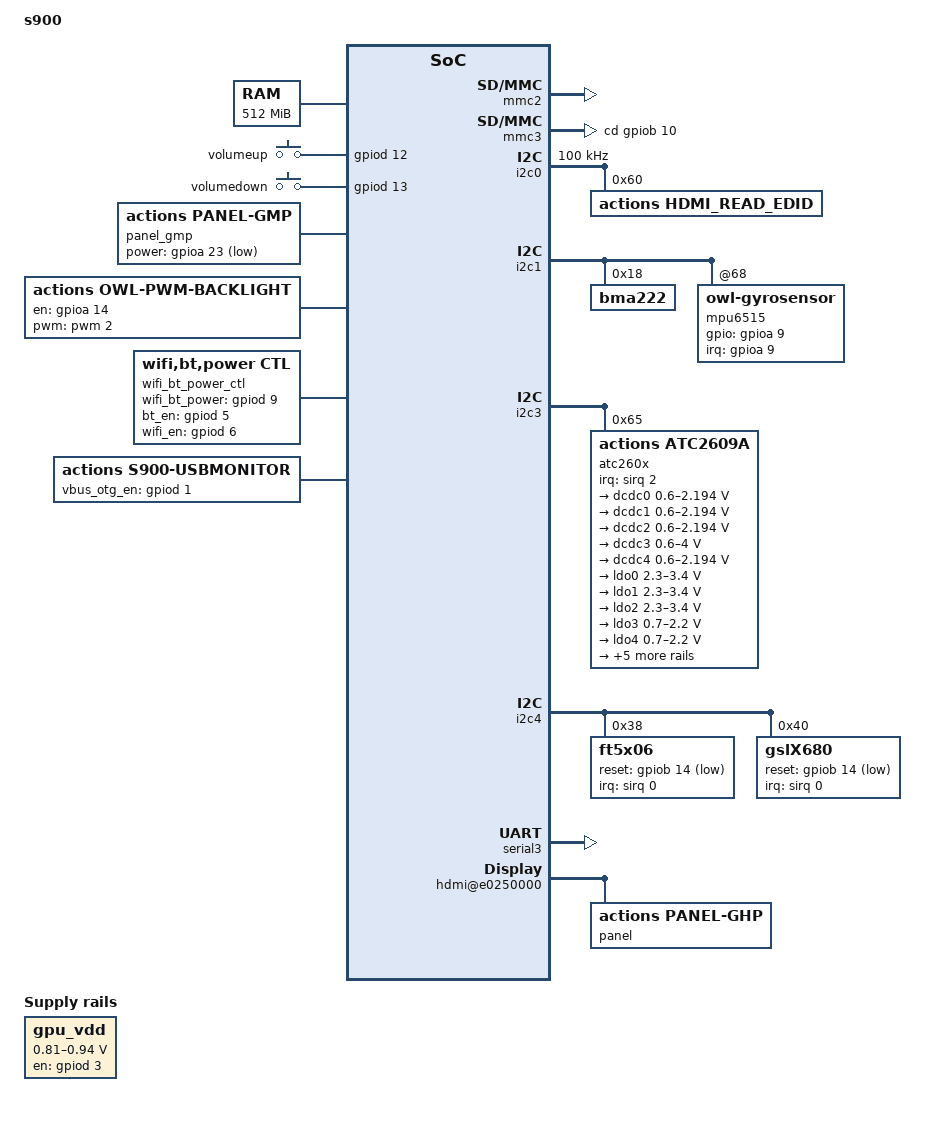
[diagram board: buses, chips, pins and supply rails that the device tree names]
/*
 * Copyright (C) 2014 Actions Semi. Inc
 *
 * This program is free software; you can redistribute it and/or
 * modify it under the terms of the GNU General Public License as
 * published by the Free Software Foundation version 2.
 *
 * This program is distributed "as is" WITHOUT ANY WARRANTY of any
 * kind, whether express or implied; without even the implied warranty
 * of MERCHANTABILITY or FITNESS FOR A PARTICULAR PURPOSE.  See the
 * GNU General Public License for more details.
 */

/dts-v1/;

/* reserve 48MB for logo(fb) */
/memreserve/ 0x19000000 0x03000000;

/* reserve 48MB for ion0(fb) */
/memreserve/ 0x1C000000 0x03000000;

/* reserve 512MB for ion1(pmem) */
/memreserve/ 0x20000000 0x20000000;

/* reserve 4k for afinfo */
/memreserve/ 0x18FFF000 0x1000;

#include "s900.dtsi"

/ {
	model = "s900";
	compatible = "actions,s900", "actions,s900-evb";

	chosen {
		bootargs="console=ttyS5,115200 earlyprintk=serial-owl,0xe012a000 no_console_suspend";
	};

	memory@00000000 {
		device_type = "memory";
		reg = <0 0x00000000 0 0x20000000>;
	};

	ion_config {
		compatible = "actions,s900-ion";
		actions,ion_heap_fb_base = <0x1c000000>;
		actions,ion_heap_fb_size = <0x03000000>;
		actions,ion_heap_pmem_base = <0x20000000>;
		actions,ion_heap_pmem_size = <0x20000000>;
	};

	mbr {
		compatible = "actions,mbr_table";
	};

	gpiod: gpiod@e01b0000 {
		pinctrl-names = "default";
		pinctrl-0 = <&pinctrl_gpio_lvds_o>;
	};

	pinctrl@e01b0000 {
		pinctrl_i2c4: i2c4 {
			i2c4_mfp {
				actions,groups = "mfp3_8";
				actions,function = "i2c4";
			};

			i2c4_pull {
				actions,pins = "P_UART4_RX", "P_UART4_TX";
				actions,pull = <2>;
			};
		};
	};

	pwm: pwm@e01b0000 {
		pwm2 {
			id = <2>;
			pinctrl-names = "default";
			pinctrl-0 = <&pwm2_state_default>;
		};
	};

	mmc0: mmc@e0338000 {
		card-type = "emmc";
		status = "disabled";
	};

	mmc1: mmc@e033c000 {
		card-type = "emmc";
		status = "disabled";
	};

	mmc2: mmc@e0334000 {
		card-type = "wifi";
		wifi-card-voltage = "1.8v";  /* only: "1.8v", "3.1v" */
		status = "okay";
	};

	mmc3: mmc@e0330000 {
		card-type = "memory";  /* only: "memory", "wifi", or "emmc" */
		card-detect-mode = "gpio";  /* only: "sirq", "gpio", or "command" */
		cd-gpios = <&gpiob 10 0>; /*hr280ac GPIOB10 */
		card_detect_reverse; /*insmod card decect gpio is high*/
		sd_vcc = "ldo0";
		status = "okay";
	};

	i2c0: i2c@e0170000 {
		clock-frequency = <100000>;
		status = "okay";
		hdmi_read_edid@60 {
			compatible = "actions,hdmi_read_edid";
			reg = <0x60>;
		};
	};

	i2c1: i2c@e0172000 {
		status = "okay";
		bma222@18 {
			compatible = "bma222";
			reg = <0x18>;
			position = "-1";
			calibration = <0 0 0>;
		};

		mpu6515@68 {
			compatible = "owl-gyrosensor";
			interrupt-parent = <&gpioa>;
			interrupts = <9>;
			gpios = <&gpioa 9 0>; /* GPIOA9 */
			i2c_adapter_id = <1>;
			MASTER_inv6515_position = "-1";
			SECONDARY_ak8963c_position = "-4";
		};
	};

	i2c3: i2c@e0176000 {
		status = "okay";
		/* atc2609a (5303) */
		atc260x: atc2609a@65 {
			compatible = "actions,atc2609a","actions,atc260x";
			reg = <0x65>;
			interrupt-parent = <&sirq>;
			interrupts = <2>;
			interrupt-controller;
			#interrupt-cells = <1>;

			losc_32k_output_enable = <1>;    /* enable/disable output 32.768K clock via AUXIN1 pin */

			pm {
				compatible = "actions,atc2609a-pm";
			};

			onoff {
				compatible = "actions,atc2609a-onoff";
			};

			rtc{
				compatible = "actions,atc2609a-rtc";
			};

			atc260x_gpio{
				compatible = "actions,atc2609a-gpio";
			};

			atc260x-adckeypad{
#define KEY_HOME				102
#define KEY_MENU				139
#define KEY_BACK				158
#define KEY_VOLUMEDOWN				114
#define KEY_VOLUMEUP				115
				keymapsize = <2>;                   /* number of ADC key */
				filter_dep = <3>;                   /* depth of the moving average filter (length of filter queue) */
				variance = <15>;                    /* filter will not output until the difference between every two ADC samples in the filter queue goes below this value */
				poll_interval =  <20>;              /* sample period, in ms */
				left_adc_val =  <0 3400>;           /* for key code translator, each value defines a lower bound of ADC value of a key */
				right_adc_val = <36 3500>;          /* for key code translator, each value defines a upper bound of ADC value of a key */
				key_val = <KEY_VOLUMEUP KEY_VOLUMEDOWN>; /* for key code translator, each value defines the key_code of a key */
				adc_channel_name = "AUX0";          /* the ADC channel used for sampling, valid names are REMCON AUX0 AUX1 AUX2 (AUX3) */
				compatible = "actions,atc2609a-adckeypad";
				key_check_mode = <0>;              /*  0:  GPIO key;  1:  ADC key   */
			};

			/*the cfg params must be read	in the first installed ko,
			 now snd-soc-atv5302.ko is first installed.
			 1, earphone_detect_level use the third value of earphone_gpios
			 2, commonly, we shouldn't change the value of speaker_gain and earphone_gain*/

			atc260x-audio{
				compatible = "actions,atc2609a-audio";
				status = "okay";
                                pinctrl-names = "default";
                                pinctrl-0 = <&i2s0_state_default>;
				clocks = <&clock CLK_AUDIO_PLL>, <&clock CLK_HDMI_AUDIO>;
				clock-names = "audio_pll", "hdmia";
				earphone_detect_gpios = <&gpiob 11 0>; /*0: high, 1: low hr280ac GPIOB11 0*/
				speaker_en_gpios = <&gpioa 19 1>; /*hr280ac GPIOA(19) 0: high, 1: low*/
				earphone_output_mode = <0>; /*0: direct mode, 1: undirect mode*/
				mic_num = <1>; /*just suport 1, 2*/
				mic0_gain = < 0x7 0x7 >; /*<Lchannel,Rchannel> [0x0~0xF]*/
				speaker_gain = < 0xaa 0xaa >; /*<Lchannel,Rchannel>[0x00~0xbebe]*/
				earphone_gain = < 0xbe 0xbe >; /*<Lchannel,Rchannel>[0x00~0xbebe]*/
				speaker_volume = < 0x28 0x28 >; /*volume [0x00~0x28]*/
				earphone_volume = < 0x28 0x28 >; /*volume [0x00~0x28]*/
				earphone_detect_mode = <0>;  /*0: polling,   1: interrupt*/
			};

			atc260x-hwmon{
				compatible = "actions,atc2609a-hwmon";
			};

			atc260x-charger{
				compatible = "actions,atc2609a-charger";
				rsense = <20>;/*unit:mohm*/
				bat_type = <1>;/*0:4.18v; 1:4.2v; 2:4.3v; 3:4.35v*/
				bl_on_current_usb_pc = <300>;
				bl_off_current_usb_pc = <500>;
				bl_on_current_usb_adp = <300>;
				bl_off_current_usb_adp = <800>;
				bl_on_current_wall_adp = <300>;
				bl_off_current_wall_adp = <1500>;
				support_adaptor_type = <3>; /*1: DCIN  2: USB  3:DCIN+USB*/
				ext_charger = <0>;
				usb_adapter_as_ac = <1>;/*0:usb ada keep itself; 1:usb ada used as DCIN when usb plug and batv<3.3v during minicharge*/
				usb_pc_ctl_mode = <1>; /*0:disable vbus ctl;1:current limited;2:voltage limited*/
			};

			atc2609a-battery{
				compatible = "actions,atc2609a-battery";
				ocv_table = <2972 3603 3683 3689 3715 3738 3765 3767 3796 3825 3872 3930 3981 4053 4118 4197>;/*mv*/
				r_table = <99 99 86 83 82 81 84 86 82 82 96 105 92 86 81 80>;/*mohm*/
				design_capacity = <6000>;/*unit:mAh*/
				taper_vol = <4180>;/*unit:mv*/
				taper_cur = <300>;/*unit:ma*/
				term_vol = <3400>;/*unit:mv*/
				ov_protect = <4275>;/*unit:mv*/
				sleep_current = <15000>;/*unit:ua*/
				shutdown_current = <50>;/*unit:ua*/
				boot_cap_threshold = <3>;
				bl_on_vol = <3300>;/*unit:mv*/
				print_switch = <0>;
				log_switch = <1>;
			};
			/* DCDC0       VDD_CORE
			 * DCDC1       VDD_CPU
			 * DCDC2       VDDR
			 * DCDC3       VCC
			 * DCDC4       VDD_CPUM
			 */
			dcdc0: dcdc0 {
				compatible = "actions,atc2609a-dcdc0","actions,atc2609a-dcdc";
				regulator-name = "dcdc0";
				regulator-min-microvolt = <600000>;
				regulator-max-microvolt = <2193750>;
				regulator-always-on;
			};

			dcdc1: dcdc1 {
				compatible = "actions,atc2609a-dcdc1","actions,atc2609a-dcdc";
				regulator-name = "dcdc1";
				regulator-min-microvolt = <600000>;
				regulator-max-microvolt = <2193750>;
				regulator-always-on;
			};

			dcdc2: dcdc2 {
				compatible = "actions,atc2609a-dcdc2","actions,atc2609a-dcdc";
				regulator-name = "dcdc2";
				regulator-min-microvolt = <600000>;
				regulator-max-microvolt = <2193750>;
				regulator-always-on;
			};

			dcdc3: dcdc3 {
				compatible = "actions,atc2609a-dcdc3","actions,atc2609a-dcdc";
				regulator-name = "dcdc3";
				regulator-min-microvolt = <600000>;
				regulator-max-microvolt = <4000000>;
				regulator-always-on;
			};

			dcdc4: dcdc4 {
				compatible = "actions,atc2609a-dcdc4","actions,atc2609a-dcdc";
				regulator-name = "dcdc4";
				regulator-min-microvolt = <600000>;
				regulator-max-microvolt = <2193750>;
				regulator-always-on;
			};

			/* LDO0        SD_VCC     3.1v
			 * LDO1        SENS_AVDD  2.8v
			 * LDO2        AVCC       3.1v
			 * LDO3        5303_VDD   1.0v
			 * LDO4        AVCC_1V8   1.8v
			 * LDO5
			 * LDO6        AVDD_1V0   1.0v
			 * LDO7        SENS_DVDD  1.8v
			 * LDO8        TP_VCC     3.1v
			 * LDO9        RTC_VDD    3.1v   */

			ldo0: ldo0{
				compatible = "actions,atc2609a-ldo0","actions,atc2609a-ldo";
				regulator-name = "ldo0";
				regulator-min-microvolt  = <2300000>;
				regulator-max-microvolt = <3400000>;
				regulator-always-on;
			};

			ldo1: ldo1{
				compatible = "actions,atc2609a-ldo1","actions,atc2609a-ldo";
				regulator-name = "ldo1";
				regulator-min-microvolt  = <2300000>;
				regulator-max-microvolt = <3400000>;
				regulator-always-on;
				regulator-suspend-off;
			};

			ldo2: ldo2{
				compatible = "actions,atc2609a-ldo2","actions,atc2609a-ldo";
				regulator-name = "ldo2";
				regulator-min-microvolt  = <2300000>;
				regulator-max-microvolt = <3400000>;
				regulator-always-on;
			};

			ldo3: ldo3{
				compatible = "actions,atc2609a-ldo3","actions,atc2609a-ldo";
				regulator-name = "ldo3";
				regulator-min-microvolt  = <700000>;
				regulator-max-microvolt = <2200000>;
				regulator-always-on;
			};

			ldo4: ldo4{
				compatible = "actions,atc2609a-ldo4","actions,atc2609a-ldo";
				regulator-name = "ldo4";
				regulator-min-microvolt  = <700000>;
				regulator-max-microvolt = <2200000>;
				regulator-always-on;
			};

			ldo5: ldo5{
				compatible = "actions,atc2609a-ldo5","actions,atc2609a-ldo";
				regulator-name = "ldo5";
				regulator-min-microvolt  = <700000>;
				regulator-max-microvolt = <2200000>;
			};

			ldo6: ldo6{
				compatible = "actions,atc2609a-ldo6","actions,atc2609a-ldo";
				regulator-name = "ldo6";
				regulator-min-microvolt  = <850000>;
				regulator-max-microvolt = <2200000>;
				regulator-always-on;
			};

			ldo7: ldo7{
				compatible = "actions,atc2609a-ldo7","actions,atc2609a-ldo";
				regulator-name = "ldo7";
				regulator-min-microvolt  = <700000>;
				regulator-max-microvolt = <2200000>;
				regulator-always-on;
				regulator-suspend-off;
			};

			ldo8: ldo8{
				compatible = "actions,atc2609a-ldo8","actions,atc2609a-ldo";
				regulator-name = "ldo8";
				regulator-min-microvolt  = <2100000>;
				regulator-max-microvolt = <3300000>;
			};

			ldo9: ldo9{
				compatible = "actions,atc2609a-ldo9","actions,atc2609a-ldo";
				regulator-name = "ldo9";
				regulator-min-microvolt  = <2600000>;
				regulator-max-microvolt = <3300000>;
				regulator-always-on;
			};
		};
	};

	i2c4: i2c@e0178000 {
		pinctrl-names = "default";
		pinctrl-0 = <&pinctrl_i2c4>;
		status = "okay";

		ft5x06@38 {
			compatible = "ft5x06";
			reg = <0x38>;
			tp_vcc = "ldo8";
			reset_gpios = <&gpiob 14 1>; /*GPIOB(14) 0: high, 1: low*/
			x_pixel = <800>;
			y_pixel = <1280>;
			x_revert_en = <1>;
			y_revert_en = <0>;
			xy_swap_en = <1>;
			rotate_degree = <0>;  /* 0 90 180 270 */
			interrupt-parent = <&sirq>;
			interrupts = < 0 0x4 >; /*SIRQ0*/
			vol_range = <3100000 3110000>;
		};

		gslX680@40 {
			compatible = "gslX680";
			reg = <0x40>;
			tp_vcc = "ldo8";
			reset_gpios = <&gpiob 14 1>;/*GPIOB(14) 0: high, 1: low*/
			x_pixel = <1200>;
			y_pixel = <1920>;
			x_revert_en = <1>;
			y_revert_en = <0>;
			xy_swap_en = <0>;
			rotate_degree = <0>;     /* 0 90 180 270 */
			interrupt-parent = <&sirq>;
			interrupts = < 0 0x4 >; /*SIRQ0*/
			vol_range = <3100000 3110000>;
		};
	};

	serial3: uart@e0126000 {
		dmas = <&dma DMA_DRQ_UART3_TX>, <&dma DMA_DRQ_UART3_RX>;
		dma-names = "tx", "rx";
		status = "okay";
	};

	gpiokeys {
		compatible = "gpio-keys-polled";
		poll-interval = <20>;

		pinctrl-names = "default";
		pinctrl-0 = <&pinctrl_gpio_lvds_e>;

		volumeup {
			compatible = "gpio-key-volumeup";
			gpios = <&gpiod 12 0>; /* GPIOD12 */
			keycode = <115>;    /*KEY_VOLUMEUP*/
			label = "volumeup";
		};

		volumedown {
			compatible = "gpio-key-volumedown";
			gpios = <&gpiod 13 0>; /* GPIOD13 */
			keycode = <114>;    /*KEY_VOLUMEDOWN*/
			label = "volumedown";
		};
	};

	isp0: isp@e0270000 {
		mirror_flip = <13>;  /* bit-0:rear camera; bit-1:front camera; 0: no flip,no mirror; 1: no flip,horizontal mirror; 2:vertical flip,no mirror; 3: vertical flip,horizontal mirror */
		
		dovdd-src = "regulator";  /* only: "gpio", "regulator" */
		dovdd-regulator = "ldo7";
		dovdd-regulator-scope = <1800000 1810000>;  /* uV */	

		avdd-src = "gpio";  /* only: "gpio", "regulator" */
		avdd-gpios = <&gpioa 18 1>; /* GPIOA18 */

		board_type = "ces";/* "ces" or "evb"*/
		sensors = "dual"; /* "dual", "front" or "rear" */
		pwdn-rear-gpios = <&gpioa 27 1>; /* GPIOA27 */
		pwdn-front-gpios = <&gpioa 26 1>; /* GPIOA26 */
		front-reset-gpios = <&gpiob 15 1>; /*GPIOB15*/
		rear-reset-gpios = <&gpiob 9 1>; /*GPIOB9*/

		pinctrl-names = "default";
		pinctrl-0 = <&mipi_csi0_state_default>, <&mipi_csi1_state_default>;

		status = "okay"; /* create platform-device */
	};

	sensors: isp-sensor {
		compatible = "sensor_common";
		i2c_adapter = <&i2c2>; /* 0-3 begin from enabled ones */

		status = "disabled";
	};

	edp: edp@e02e0000 {
		status = "disabled";	
	};

	dsi: dsi@e01e0000 {
		compatible = "actions,s900-dsi", "simple-bus";
		reg = <0 0xe01e0000 0 0x88>,
		      <0 0xe0160000 0 0x4>,
		      <0 0xe012e014 0 0x4>;
		reg-names = "regs", "cmu_dsiclk", "sps_ldo_ctl";

		clocks = <&clock CLK_DSI>;
		clock-names = "dsi";

		resets = <&reset RESET_DSI>;

		pinctrl-names = "default";
		pinctrl-0 = <&dsi_state_default>;

		panel_configs = <&config0>;

		/* 1920x1200p60 */
		config0: mipi_configs {
			dsi_ctrl = <0x80001340>;
			dsi_size = <0x4b00000>;
			dsi_color = <0xff0000>;
			dsi_rgbht0 = <0xcc54>;
			dsi_rgbht1 = <0x3e8>;
			dsi_rgbvt0 = <0x1f084c4>;
			dsi_rgbvt1 = <0xd>;
			dsi_pack_cfg = <0x0>;
			dsi_pack_header = <0x1680>;
			dsi_vedio_cfg = <0x30c>;
			dsi_phy_t0 = <0x236b>;
			dsi_phy_t1 = <0x231b>;
			dsi_phy_t2 = <0x205e06>;
			dsi_phy_ctrl = <0x7c680083>;
			dsi_pin_map = <0x688>;

			dsiclk_value = <0x10355>;
		};
		
		/* hsd101puw1-a */
		panel_gmp: mipi_panel {
			compatible = "actions,panel-gmp";

			/* panel's fixed info */
			width_mm = <217>;
			height_mm = <135>;
			bpp = <24>;

			/* operation delay in ms */
			power_on_delay = <0>;
			power_off_delay = <0>;
			enable_delay = <0>;
			disable_delay = <0>;

			power-gpio = <&gpioa 23 1>;		/* GPIOA23 */ 

			videomode-0 = <&mode0>;

			/* 1920x1200p60 */
			mode0: videomode {
				refresh_rate = <60>;

				xres = <1920>;
				yres = <1200>;

				/* in pico second, 0.000 000 000 001s */
				pixel_clock = <7843>;

				hsw = <11>;
				hbp = <17>;
				hfp = <17>;

				vsw = <4>;
				vbp = <8>;
				vfp = <8>;

				/* 0: FB_VMODE_NONINTERLACED, 1:FB_VMODE_INTERLACED */
				vmode = <0>;
			};
		};
	};

	backlight {
		compatible = "actions,owl-pwm-backlight";

		/* GPIOA14, active high */
		en-gpios = <&gpioa 14 0>;

		/*1.pwm num; 2. period in ns; */
		/*3.plarity, 0: high active, 1: low active*/
		pwms = <&pwm 2 50000 0>;

		total_steps = <1024>;
		min_brightness = <100>;
		max_brightness = <1000>;
		dft_brightness = <500>;

		delay_bf_pwm = <0>; /*in ms*/
		delay_af_pwm = <200>; /*in ms*/
	};

	wifi_bt_power_ctl {
		compatible = "wifi,bt,power,ctl";
		//bt_power_gpio = <&gpioa 16 0>;/*GPIOA20, high active*/   /*BT_WAKE*/
		wifi_bt_power_gpios = <&gpiod 9 0>; /*  GPIOd9 */
		bt_en_gpios = <&gpiod 5 0>;/*GPIOd5, high active*/  /*M3305 A17 reset pin*/
		wifi_en_gpios = <&gpiod 6 0>; /* GPIOd6*/
	};

	hdmi@e0250000 {
		tmds-avdd-supply = <&ldo4>;

		skip_hpd = <1>;
		hdcp_onoff = <0>;
		channel_invert = <0>;
		bit_invert = <0>;

		panel@ghp {
			compatible = "actions,panel-ghp";

			bootenable = <0>;
			bootrotate = <0>;
		};
	};

	monitor {
		compatible = "actions,s900-usbmonitor";
		detect_type = <3>; /* config what to detect, 0:DISABLE ; 1:DEVICE_ONLY; 2:HOST_ONLY; 3: HOST_AND_DEVICE*/
		idpin_type   = <0>; /* 0:use ic's idpin;      1:soft idpin,##no support!##;       2:gpio idpin,use gpio to detect,need to add a "idpin_gpio" configuration */
		vbus_type   = <2>; /* 0:use ic's vbuspin; 1:gpio vbus,##no support!## ;      2:use dc5v to detect vbus level*/

		/*vbus_otg_en_gpio is use to turn on/off otg vbus,it's different from vbus detect gpio;*/
		vbus_otg_en_gpios = <&gpiod 1 0>;  /* GPIOD1,  1: low active; 0: high active */
		//idpin_gpio = <&gpiob 31 1>;   /*if idpin detect by gpio,config the gpio to GPIOB31, input,0: low active; 1: high active*/
		status = "okay";
	};

	owl_usb_config {
		compatible = "actions,owl-usb-config";
		usb_serialnumber_config = <1>; /* config serialnumber string format, 0: fixed serial no in ascii format; 1: fixed serial no in unicode format; 2:non-fixed serial no in unicode format*/
		usb_hs_output_strength = <3>; /*defaut:3,range:0~7; 0:min,7:max;usb high speed(2.0)transmitter output strength*/
		status = "okay";
	};

 	usb2h0: usb@e02b0000 {
		status = "disabled";
	};

	usb2h1: usb@e02c0000 {
		status = "disabled";
	};

	gpu_vdd: gpio-regulator {
	   compatible = "regulator-gpio";

	   regulator-name = "gpu-gpio-supply";
	   regulator-type = "voltage";
	   regulator-min-microvolt = <810000>;
	   regulator-max-microvolt = <940000>;

	   enable-gpio = <&gpiod 3 0x4>;
	   gpios = <&gpioa 24 0x4>;
	   states = <810000 0x1
	   	     940000 0x0>;

	   startup-delay-us = <2000>;
	   enable-active-high;
	};

	gpu@e0600000 {
		gpu-supply = <&gpu_vdd>;

		operating-points = <352000  940000>;
	};
};
